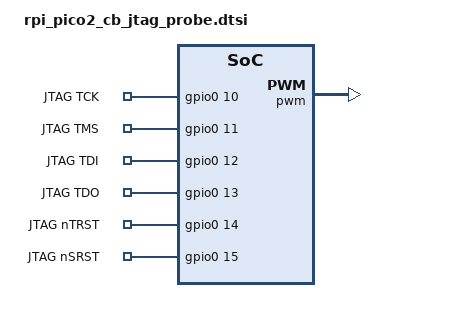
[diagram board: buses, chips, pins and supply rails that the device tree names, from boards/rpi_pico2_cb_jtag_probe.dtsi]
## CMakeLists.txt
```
# Copyright (c) 2021 Teslabs Engineering S.L.
# SPDX-License-Identifier: Apache-2.0

cmake_minimum_required(VERSION 3.20.0)

# add our custom zephyr BOARD_ROOT directory
# list(APPEND BOARD_ROOT
# 	${CMAKE_CURRENT_SOURCE_DIR}/../
# )

find_package(Zephyr REQUIRED HINTS $ENV{ZEPHYR_BASE})
project(cb_jtag_probe)

# # Setup git watcher, extracts git infos and writes them to POST_CONFIGURE_FILE(s) based on
# # of PRE_CONFIGURE_FILE(s) template(s).
# set(CMAKE_MODULE_PATH ${CMAKE_MODULE_PATH} "${CMAKE_SOURCE_DIR}/../build_helpers/cmake/")
# set(PRE_CONFIGURE_FILE "${CMAKE_SOURCE_DIR}/../build_helpers/cmake/fw_version.h.in")
# set(POST_CONFIGURE_FILE "${CMAKE_BINARY_DIR}/fw_version.h")
# include(git_watcher)

# target_include_directories(app PRIVATE ${CMAKE_BINARY_DIR})


FILE(GLOB app_sources CONFIGURE_DEPENDS src/*.c)
target_sources(app PRIVATE ${app_sources})
```

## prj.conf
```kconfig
CONFIG_USB_DEVICE_STACK_NEXT=y
CONFIG_USBD_LOG_LEVEL_WRN=y
CONFIG_USBD_THREAD_STACK_SIZE=4096
CONFIG_USBD_CDC_ACM_CLASS=y
CONFIG_USBD_CDC_ACM_LOG_LEVEL_OFF=y

CONFIG_SERIAL=y
CONFIG_UART_LINE_CTRL=y
CONFIG_UART_INTERRUPT_DRIVEN=y
CONFIG_UART_USE_RUNTIME_CONFIGURE=y

CONFIG_LOG=y
CONFIG_LOG_DEFAULT_LEVEL=3


# enable CB_ZEPHYR_MODULE
CONFIG_CB_ZEPHYR_MODULE=y

# enable CB_ERROR module to get error handling and reporting features
CONFIG_CB_ERROR=y

# enable CB_SYS module to get system check functions and LED control features
CONFIG_CB_SYS=y
# CONFIG_CB_SYS_LED_BLINK=y
CONFIG_CB_SYS_LED_HEARTBEAT=y
CONFIG_CB_SYS_LED_BPM=40

# enable CB_INFO module to get build and system information features
CONFIG_CB_INFO=y
```

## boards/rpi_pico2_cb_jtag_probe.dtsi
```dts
/ {
	aliases {
        sys-led = &led0;
		sys-led-pwm = &pwm_led0;

		jtag-tck = &jtag_tck;
		jtag-tms = &jtag_tms;
		jtag-tdi = &jtag_tdi;
		jtag-tdo = &jtag_tdo;
		jtag-ntrst = &jtag_ntrst;
		jtag-nsrst = &jtag_nsrst;
	};

	pwm_leds {
		compatible = "pwm-leds";
		status = "okay";
	};

	jtag_pins: jtag_pins {
		compatible = "gpio-keys";

		jtag_tck: jtag_tck {
			gpios = <&gpio0 10 GPIO_ACTIVE_HIGH>;
			label = "JTAG TCK";
		};

		jtag_tms: jtag_tms {
			gpios = <&gpio0 11 GPIO_ACTIVE_HIGH>;
			label = "JTAG TMS";
		};

		jtag_tdi: jtag_tdi {
			gpios = <&gpio0 12 GPIO_ACTIVE_HIGH>;
			label = "JTAG TDI";
		};

		jtag_tdo: jtag_tdo {
			gpios = <&gpio0 13 GPIO_ACTIVE_HIGH>;
			label = "JTAG TDO";
		};

		jtag_ntrst: jtag_ntrst {
			gpios = <&gpio0 14 GPIO_ACTIVE_HIGH>;
			label = "JTAG nTRST";
		};

		jtag_nsrst: jtag_nsrst {
			gpios = <&gpio0 15 GPIO_ACTIVE_HIGH>;
			label = "JTAG nSRST";
		};

	};
};

&pwm {
	status = "okay";
};
```

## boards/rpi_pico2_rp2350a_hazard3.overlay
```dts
/ {
	aliases {
		jtag-tck = &jtag_tck;
		jtag-tms = &jtag_tms;
		jtag-tdi = &jtag_tdi;
		jtag-tdo = &jtag_tdo;
		jtag-ntrst = &jtag_ntrst;
		jtag-nsrst = &jtag_nsrst;
	};

	jtag_pins: jtag_pins {
		compatible = "gpio-keys";

		jtag_tck: jtag_tck {
			gpios = <&gpio0 10 GPIO_ACTIVE_HIGH>;
			label = "JTAG TCK";
		};

		jtag_tms: jtag_tms {
			gpios = <&gpio0 11 GPIO_ACTIVE_HIGH>;
			label = "JTAG TMS";
		};

		jtag_tdi: jtag_tdi {
			gpios = <&gpio0 12 GPIO_ACTIVE_HIGH>;
			label = "JTAG TDI";
		};

		jtag_tdo: jtag_tdo {
			gpios = <&gpio0 13 GPIO_ACTIVE_HIGH>;
			label = "JTAG TDO";
		};

		jtag_ntrst: jtag_ntrst {
			gpios = <&gpio0 14 GPIO_ACTIVE_HIGH>;
			label = "JTAG nTRST";
		};

		jtag_nsrst: jtag_nsrst {
			gpios = <&gpio0 15 GPIO_ACTIVE_HIGH>;
			label = "JTAG nSRST";
		};

	};
};
```

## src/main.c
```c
#include <stdio.h>

#include <zephyr/kernel.h>

#include "cb_error.h"
#include "cb_sys.h"
#include "cb_info.h"
#include "jtag_engine.h"
#include "usb_bulk_jtag.h"
#include "usb_jtag_transport.h"

// ---- logging includes/defines ----------------------------------------------
#include <zephyr/logging/log.h>
LOG_MODULE_REGISTER(main, CONFIG_LOG_DEFAULT_LEVEL);


int32_t main(void)
{
    int ret;

    ret = cb_sys_init();
    ERR_CHECK(ret < 0, ret, "System init failed (err %d)", ret);

    ret = jtag_engine_init();
    ERR_CHECK(ret < 0, ret, "JTAG engine init failed (err %d)", ret);

    ret = usb_bulk_jtag_init();
    ERR_CHECK(ret < 0, ret, "USB bulk JTAG init failed (err %d)", ret);

    k_sleep(K_SECONDS(1));

    cb_info();

    while (true) {
        k_sleep(K_SECONDS(1));
    }
}
```

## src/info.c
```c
#include "info.h"
#include "fw_version.h"

#include <stdio.h>
#include <string.h>

#include <zephyr/drivers/hwinfo.h>
#include <zephyr/kernel.h>
#include <zephyr/sys/clock.h>
#include <zephyr/version.h>

// ---- logging includes/defines ----------------------------------------------
#include <zephyr/logging/log.h>
LOG_MODULE_REGISTER(info, CONFIG_LOG_DEFAULT_LEVEL);

#ifndef CONFIG_BOARD
#define CONFIG_BOARD "unknown"
#endif

#ifndef CONFIG_SOC
#define CONFIG_SOC "unknown"
#endif

static const char *const separator_line =
    "--------------------------------------------------------------------";

static const char *cpu_type_name(void)
{
#if defined(__riscv)
    return "RISC-V";
#elif defined(__aarch64__)
    return "ARM64";
#elif defined(__arm__)
#if defined(CONFIG_CPU_CORTEX_M85)
    return "ARM Cortex-M85";
#elif defined(CONFIG_CPU_CORTEX_M55)
    return "ARM Cortex-M55";
#elif defined(CONFIG_CPU_CORTEX_M52)
    return "ARM Cortex-M52";
#elif defined(CONFIG_CPU_CORTEX_M33)
    return "ARM Cortex-M33";
#elif defined(CONFIG_CPU_CORTEX_M23)
    return "ARM Cortex-M23";
#elif defined(CONFIG_CPU_CORTEX_M7)
    return "ARM Cortex-M7";
#elif defined(CONFIG_CPU_CORTEX_M4)
    return "ARM Cortex-M4";
#elif defined(CONFIG_CPU_CORTEX_M3)
    return "ARM Cortex-M3";
#elif defined(CONFIG_CPU_CORTEX_M1)
    return "ARM Cortex-M1";
#elif defined(CONFIG_CPU_CORTEX_M0PLUS)
    return "ARM Cortex-M0+";
#elif defined(CONFIG_CPU_CORTEX_M0)
    return "ARM Cortex-M0";
#elif defined(CONFIG_CPU_CORTEX_R52)
    return "ARM Cortex-R52";
#elif defined(CONFIG_CPU_CORTEX_R8)
    return "ARM Cortex-R8";
#elif defined(CONFIG_CPU_CORTEX_A72)
    return "ARM Cortex-A72";
#elif defined(CONFIG_CPU_CORTEX_A55)
    return "ARM Cortex-A55";
#elif defined(CONFIG_CPU_CORTEX_A53)
    return "ARM Cortex-A53";
#else
    return "ARM";
#endif
#elif defined(__x86_64__)
    return "x86_64";
#elif defined(__i386__)
    return "x86";
#else
    return "unknown";
#endif
}

static void format_device_id(char *dst, size_t dst_len)
{
    uint8_t id_buf[16];
    ssize_t id_len;
    size_t pos = 0u;

    id_len = hwinfo_get_device_id(id_buf, sizeof(id_buf));
    if (id_len <= 0) {
        (void)snprintf(dst, dst_len, "unknown");
        return;
    }

    for (ssize_t i = 0; i < id_len; i++) {
        int written;

        written = snprintf(&dst[pos], dst_len - pos, "%02X", id_buf[i]);
        if ((written <= 0) || ((size_t)written >= (dst_len - pos))) {
            break;
        }
        pos += (size_t)written;
    }
}

const char *const *get_device_information(size_t *count)
{
    static char release_line[96];
    static char zephyr_line[96];
    static char build_date_line[96];
    static char board_line[96];
    static char soc_line[128];
    static char cpu_line[96];
    static char device_id_line[96];
    static char device_id[40];
    static const char *lines[DEVICE_INFO_LINES_COUNT];

    format_device_id(device_id, sizeof(device_id));

    (void)snprintf(release_line, sizeof(release_line),
               "  Release:         %s", FW_VERSION_STRING);
    (void)snprintf(zephyr_line, sizeof(zephyr_line),
               "  Zephyr release:  %s", KERNEL_VERSION_STRING);
    (void)snprintf(build_date_line, sizeof(build_date_line),
               "  Build date:      %s %s", __DATE__, __TIME__);
    (void)snprintf(board_line, sizeof(board_line),
               "  Board name:      %s", CONFIG_BOARD);
    (void)snprintf(soc_line, sizeof(soc_line),
               "  SOC:             %s running @ %u MHz",
               CONFIG_SOC,
               (uint32_t)(sys_clock_hw_cycles_per_sec() / 1000000u));
    (void)snprintf(cpu_line, sizeof(cpu_line),
               "  CPU type:        %s (%u-bit)",
               cpu_type_name(),
               (unsigned int)(sizeof(void *) * 8u));
    (void)snprintf(device_id_line, sizeof(device_id_line),
               "  Device ID:       %s", device_id);

    lines[0] = separator_line;
    lines[1] = "Application and board information:";
    lines[2] = release_line;
    lines[3] = zephyr_line;
    lines[4] = build_date_line;
    lines[5] = board_line;
    lines[6] = soc_line;
    lines[7] = cpu_line;
    lines[8] = device_id_line;
    lines[9] = separator_line;

    if (count != NULL) {
        *count = DEVICE_INFO_LINES_COUNT;
    }

    return lines;
}



void info_log(void)
{
    // info content to log channel
    size_t count;
    const char *const *lines = get_device_information(&count);
    for (size_t i = 0u; i < count; i++) {
        LOG_INF("%s", lines[i]);
    }
}
```

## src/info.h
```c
#ifndef INFO_H_
#define INFO_H_

#include <stddef.h>

#ifdef __cplusplus
extern "C" {
#endif

#define DEVICE_INFO_LINES_COUNT 10u

/*
 * Returns a pointer to a static array of informational text lines.
 * The returned pointer remains valid until the next call.
 */
const char *const *get_device_information(size_t *count);

void info_log(void);

#ifdef __cplusplus
}
#endif

#endif /* INFO_H_ */
```

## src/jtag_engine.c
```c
#include <zephyr/devicetree.h>
#include <zephyr/drivers/gpio.h>
#include <errno.h>
#include <string.h>

#include "jtag_engine.h"
#include "jtag_proto.h"
#include "cb_error.h"

// ---- logging includes/defines ----------------------------------------------
#include <zephyr/logging/log.h>
// LOG_MODULE_REGISTER(JTAG_ENGINE, CONFIG_LOG_DEFAULT_LEVEL);
LOG_MODULE_REGISTER(JTAG_ENGINE, LOG_LEVEL_DBG);

#define JTAG_TCK_NODE DT_ALIAS(jtag_tck)
#define JTAG_TMS_NODE DT_ALIAS(jtag_tms)
#define JTAG_TDI_NODE DT_ALIAS(jtag_tdi)
#define JTAG_TDO_NODE DT_ALIAS(jtag_tdo)
#define JTAG_NSRST_NODE DT_NODELABEL(jtag_nsrst)

#if DT_HAS_ALIAS(jtag_tck) && DT_HAS_ALIAS(jtag_tms) && \
	DT_HAS_ALIAS(jtag_tdi) && DT_HAS_ALIAS(jtag_tdo)

    static const struct gpio_dt_spec jtag_tck = GPIO_DT_SPEC_GET(JTAG_TCK_NODE, gpios);
    static const struct gpio_dt_spec jtag_tms = GPIO_DT_SPEC_GET(JTAG_TMS_NODE, gpios);
    static const struct gpio_dt_spec jtag_tdi = GPIO_DT_SPEC_GET(JTAG_TDI_NODE, gpios);
    static const struct gpio_dt_spec jtag_tdo = GPIO_DT_SPEC_GET(JTAG_TDO_NODE, gpios);
#else
#error "JTAG GPIO aliases (jtag-tck/tms/tdi/tdo) must be defined in devicetree"
#endif

static bool jtag_ready;
static bool nsrst_ready;
static const size_t jtag_log_hexdump_max_bytes = 64u;

#if DT_NODE_EXISTS(JTAG_NSRST_NODE)
static const struct gpio_dt_spec jtag_nsrst = GPIO_DT_SPEC_GET(JTAG_NSRST_NODE, gpios);
#endif

static inline uint8_t get_bit(const uint8_t *buf, uint32_t bit_index)
{
	return (buf[bit_index / 8u] >> (bit_index % 8u)) & 0x1u;
}

static inline void set_bit(uint8_t *buf, uint32_t bit_index, uint8_t value)
{
	uint8_t mask = (uint8_t)(1u << (bit_index % 8u));

	if (value != 0u) {
		buf[bit_index / 8u] |= mask;
	} else {
		buf[bit_index / 8u] &= (uint8_t)(~mask);
	}
}

int jtag_engine_init(void)
{
	int rc;

	if (!device_is_ready(jtag_tck.port) || !device_is_ready(jtag_tms.port) ||
	    !device_is_ready(jtag_tdi.port) || !device_is_ready(jtag_tdo.port)) {
		LOG_ERR("JTAG GPIO port not ready");
		return -1;
	}

	rc = gpio_pin_configure_dt(&jtag_tck, GPIO_OUTPUT_INACTIVE);
	if (rc != 0) {
		LOG_ERR("Failed to configure TCK rc=%d", rc);
		return rc;
	}

	rc = gpio_pin_configure_dt(&jtag_tms, GPIO_OUTPUT_INACTIVE);
	if (rc != 0) {
		LOG_ERR("Failed to configure TMS rc=%d", rc);
		return rc;
	}

	rc = gpio_pin_configure_dt(&jtag_tdi, GPIO_OUTPUT_INACTIVE);
	if (rc != 0) {
		LOG_ERR("Failed to configure TDI rc=%d", rc);
		return rc;
	}

	rc = gpio_pin_configure_dt(&jtag_tdo, GPIO_INPUT);
	if (rc != 0) {
		LOG_ERR("Failed to configure TDO rc=%d", rc);
		return rc;
	}

#if DT_NODE_EXISTS(JTAG_NSRST_NODE)
	if (!device_is_ready(jtag_nsrst.port)) {
		LOG_WRN("nSRST GPIO port not ready, reset control disabled");
		nsrst_ready = false;
	} else {
		rc = gpio_pin_configure_dt(&jtag_nsrst, GPIO_OUTPUT_ACTIVE);
		if (rc != 0) {
			LOG_WRN("Failed to configure nSRST rc=%d, reset control disabled", rc);
			nsrst_ready = false;
		} else {
			nsrst_ready = true;
		}
	}
#else
	nsrst_ready = false;
#endif

	jtag_ready = true;
	return 0;
}

int jtag_engine_shift_bits(const uint8_t *tdi,
			   const uint8_t *tms,
			   uint8_t *tdo,
			   uint32_t n_bits)
{
	size_t n_bytes;
	size_t dump_bytes;
	int rc;

	if (!jtag_ready) {
		return -1;
	}

	if ((tdi == NULL) || (tms == NULL) || (tdo == NULL) || (n_bits == 0u)) {
		return -2;
	}

	n_bytes = jtag_bytes_for_bits(n_bits);
	dump_bytes = (n_bytes > jtag_log_hexdump_max_bytes) ? jtag_log_hexdump_max_bytes : n_bytes;

	LOG_DBG("Shifting %u bits through JTAG chain (%u bytes)", n_bits, (uint32_t)n_bytes);
	LOG_HEXDUMP_DBG(tdi, dump_bytes, "TDI");
	LOG_HEXDUMP_DBG(tms, dump_bytes, "TMS");
	if (dump_bytes < n_bytes) {
		LOG_DBG("Hexdump truncated to %u/%u bytes", (uint32_t)dump_bytes, (uint32_t)n_bytes);
	}

	memset(tdo, 0, n_bytes);

	for (uint32_t i = 0; i < n_bits; i++) {
		rc = gpio_pin_set_dt(&jtag_tms, get_bit(tms, i));
		if (rc != 0) {
			return rc;
		}

		rc = gpio_pin_set_dt(&jtag_tdi, get_bit(tdi, i));
		if (rc != 0) {
			return rc;
		}

		rc = gpio_pin_set_dt(&jtag_tck, 1);
		if (rc != 0) {
			return rc;
		}

		rc = gpio_pin_get_dt(&jtag_tdo);
		if (rc < 0) {
			return rc;
		}
		set_bit(tdo, i, (uint8_t)rc);

		rc = gpio_pin_set_dt(&jtag_tck, 0);
		if (rc != 0) {
			return rc;
		}
	}

	return 0;
}

int jtag_engine_shift_loopback(const uint8_t *tdi,
				      const uint8_t *tms,
				      uint8_t *tdo,
				      uint32_t n_bits)
{
	size_t n_bytes;
	uint8_t last_mask;

	(void)tms;

	if ((tdi == NULL) || (tdo == NULL) || (n_bits == 0u)) {
		return -1;
	}

	n_bytes = jtag_bytes_for_bits(n_bits);
	memcpy(tdo, tdi, n_bytes);

	/* Ensure padding bits above n_bits are always cleared. */
	last_mask = (uint8_t)((n_bits % 8u) == 0u ? 0xFFu : ((1u << (n_bits % 8u)) - 1u));
	tdo[n_bytes - 1u] &= last_mask;

    LOG_HEXDUMP_DBG(tdo, n_bytes, "TDO");

	return 0;
}

int jtag_engine_set_nsrst_high(void)
{
#if DT_NODE_EXISTS(JTAG_NSRST_NODE)
	if (!jtag_ready) {
		return -EIO;
	}

	if (!nsrst_ready) {
		return -ENOTSUP;
	}

	LOG_DBG("set nSRST high");
	return gpio_pin_set_dt(&jtag_nsrst, 1);
#else
	return -ENOTSUP;
#endif
}

int jtag_engine_set_nsrst_low(void)
{
#if DT_NODE_EXISTS(JTAG_NSRST_NODE)
	if (!jtag_ready) {
		return -EIO;
	}

	if (!nsrst_ready) {
		return -ENOTSUP;
	}

	LOG_DBG("set nSRST low");
	return gpio_pin_set_dt(&jtag_nsrst, 0);
#else
	return -ENOTSUP;
#endif
}
```

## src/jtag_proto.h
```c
#ifndef JTAG_PROTO_H_
#define JTAG_PROTO_H_

#include <stddef.h>
#include <stdint.h>

#ifdef __cplusplus
extern "C" {
#endif

#define JTAG_CMD_SCAN 0x01u
#define JTAG_CMD_NSRST_HIGH 0x02u
#define JTAG_CMD_NSRST_LOW 0x03u
#define JTAG_CMD_GET_FW_VERSION 0x04u

#define JTAG_FW_VERSION_PAYLOAD_LEN 32u

#define JTAG_STATUS_OK 0x00u
#define JTAG_STATUS_BAD_CMD 0x01u
#define JTAG_STATUS_BAD_LEN 0x02u
#define JTAG_STATUS_INTERNAL_ERR 0x03u

#define JTAG_PROTO_HEADER_SIZE 8u

struct jtag_scan_request {
	uint8_t flags;
	uint32_t n_bits;
	size_t n_bytes;
	const uint8_t *tdi;
	const uint8_t *tms;
};

struct jtag_scan_response {
	uint8_t status;
	uint8_t flags;
	uint32_t n_bits;
	size_t n_bytes;
	const uint8_t *tdo;
};

size_t jtag_bytes_for_bits(uint32_t n_bits);

int jtag_proto_decode_scan_request(const uint8_t *buf, size_t len,
					 struct jtag_scan_request *req);

int jtag_proto_encode_scan_response(const struct jtag_scan_response *rsp,
					 uint8_t *buf,
					 size_t buf_len,
					 size_t *encoded_len);

#ifdef __cplusplus
}
#endif

#endif /* JTAG_PROTO_H_ */
```

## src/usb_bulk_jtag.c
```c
#include "usb_bulk_jtag.h"

#include <errno.h>

#include <zephyr/drivers/usb/udc.h>
#include <zephyr/kernel.h>
#include <zephyr/logging/log.h>
#include <zephyr/sys/byteorder.h>
#include <zephyr/usb/usbd.h>

#include "jtag_proto.h"
#include "usb_jtag_transport.h"

LOG_MODULE_REGISTER(usb_bulk_jtag, CONFIG_LOG_DEFAULT_LEVEL);

#define JTAG_BULK_EP_OUT_ADDR 0x01
#define JTAG_BULK_EP_IN_ADDR  0x81

#define JTAG_BULK_MAX_BITS        4096u
#define JTAG_BULK_MAX_REQ_BYTES   (JTAG_PROTO_HEADER_SIZE + (2u * (JTAG_BULK_MAX_BITS / 8u)))
#define JTAG_BULK_MAX_RESP_BYTES  (JTAG_PROTO_HEADER_SIZE + (JTAG_BULK_MAX_BITS / 8u))
#define JTAG_BULK_OUT_XFER_BYTES  USBD_MAX_BULK_MPS

enum {
	JTAG_BULK_ENABLED = 0,
	JTAG_BULK_OUT_ARMED,
	JTAG_BULK_IN_FLIGHT,
};

struct jtag_bulk_desc {
	struct usb_if_descriptor if0;
	struct usb_ep_descriptor if0_out_ep;
	struct usb_ep_descriptor if0_in_ep;
	struct usb_ep_descriptor if0_hs_out_ep;
	struct usb_ep_descriptor if0_hs_in_ep;
	struct usb_desc_header nil_desc;
};

struct jtag_bulk_data {
	struct jtag_bulk_desc *const desc;
	const struct usb_desc_header **const fs_desc;
	const struct usb_desc_header **const hs_desc;
	atomic_t state;
	size_t rx_len;
	uint8_t rx_buf[JTAG_BULK_MAX_REQ_BYTES];
};

static uint8_t tx_buf[JTAG_BULK_MAX_RESP_BYTES];

static int jtag_bulk_expected_req_len(const uint8_t *buf, size_t len, size_t *expected)
{
	uint8_t cmd;
	uint32_t n_bits;
	size_t n_bytes;

	if ((buf == NULL) || (expected == NULL)) {
		return -EINVAL;
	}

	if (len < JTAG_PROTO_HEADER_SIZE) {
		return -EAGAIN;
	}

	cmd = buf[0];
	if ((cmd == JTAG_CMD_NSRST_HIGH) ||
	    (cmd == JTAG_CMD_NSRST_LOW) ||
	    (cmd == JTAG_CMD_GET_FW_VERSION)) {
		*expected = JTAG_PROTO_HEADER_SIZE;
		return 0;
	}

	if (cmd != JTAG_CMD_SCAN) {
		return -EINVAL;
	}

	/* Header layout: cmd(1), flags(1), reserved(2), n_bits(4 LE). */
	n_bits = (uint32_t)buf[4] |
		 ((uint32_t)buf[5] << 8) |
		 ((uint32_t)buf[6] << 16) |
		 ((uint32_t)buf[7] << 24);

	if (n_bits == 0u) {
		return -EINVAL;
	}

	n_bytes = jtag_bytes_for_bits(n_bits);
	*expected = JTAG_PROTO_HEADER_SIZE + (2u * n_bytes);

	if (*expected > JTAG_BULK_MAX_REQ_BYTES) {
		return -EMSGSIZE;
	}

	return 0;
}

static uint8_t jtag_bulk_get_out_ep(struct usbd_class_data *const c_data)
{
	struct jtag_bulk_data *data = usbd_class_get_private(c_data);
	struct usbd_context *ctx = usbd_class_get_ctx(c_data);

	if (USBD_SUPPORTS_HIGH_SPEED && usbd_bus_speed(ctx) == USBD_SPEED_HS) {
		return data->desc->if0_hs_out_ep.bEndpointAddress;
	}

	return data->desc->if0_out_ep.bEndpointAddress;
}

static uint8_t jtag_bulk_get_in_ep(struct usbd_class_data *const c_data)
{
	struct jtag_bulk_data *data = usbd_class_get_private(c_data);
	struct usbd_context *ctx = usbd_class_get_ctx(c_data);

	if (USBD_SUPPORTS_HIGH_SPEED && usbd_bus_speed(ctx) == USBD_SPEED_HS) {
		return data->desc->if0_hs_in_ep.bEndpointAddress;
	}

	return data->desc->if0_in_ep.bEndpointAddress;
}

static int jtag_bulk_submit_out(struct usbd_class_data *const c_data)
{
	struct jtag_bulk_data *data = usbd_class_get_private(c_data);
	struct net_buf *buf;
	int ret;

	if (!atomic_test_bit(&data->state, JTAG_BULK_ENABLED)) {
		return -EPERM;
	}

	buf = usbd_ep_buf_alloc(c_data, jtag_bulk_get_out_ep(c_data), JTAG_BULK_OUT_XFER_BYTES);
	if (buf == NULL) {
		LOG_ERR("Failed to allocate OUT buffer (%u bytes)", JTAG_BULK_OUT_XFER_BYTES);
		return -ENOMEM;
	}

	ret = usbd_ep_enqueue(c_data, buf);
	if (ret != 0) {
		LOG_ERR("Failed to enqueue OUT transfer ret=%d", ret);
		net_buf_unref(buf);
	} else {
		atomic_set_bit(&data->state, JTAG_BULK_OUT_ARMED);
	}

	return ret;
}

static int jtag_bulk_submit_in(struct usbd_class_data *const c_data,
			      const uint8_t *data,
			      size_t len)
{
	struct jtag_bulk_data *bulk_data = usbd_class_get_private(c_data);
	struct net_buf *buf;
	int ret;

	if ((data == NULL) || (len == 0u) || (len > JTAG_BULK_MAX_RESP_BYTES)) {
		return -EINVAL;
	}

	buf = usbd_ep_buf_alloc(c_data, jtag_bulk_get_in_ep(c_data), len);
	if (buf == NULL) {
		return -ENOMEM;
	}

	net_buf_add_mem(buf, data, len);
	ret = usbd_ep_enqueue(c_data, buf);
	if (ret != 0) {
		net_buf_unref(buf);
	} else {
		atomic_set_bit(&bulk_data->state, JTAG_BULK_IN_FLIGHT);
	}

	return ret;
}

static void jtag_bulk_send_status(struct usbd_class_data *const c_data, uint8_t status)
{
	struct jtag_scan_response rsp = {
		.status = status,
		.flags = 0u,
		.n_bits = 0u,
		.n_bytes = 0u,
		.tdo = NULL,
	};
	size_t tx_len = 0u;

	if (jtag_proto_encode_scan_response(&rsp, tx_buf, sizeof(tx_buf), &tx_len) == 0) {
		(void)jtag_bulk_submit_in(c_data, tx_buf, tx_len);
	}
}

static void jtag_bulk_reset_rx(struct jtag_bulk_data *data)
{
	data->rx_len = 0u;
}

static int jtag_bulk_request_handler(struct usbd_class_data *const c_data,
				     struct net_buf *const buf,
				     int err)
{
	struct udc_buf_info *bi = udc_get_buf_info(buf);
	uint8_t ep = bi->ep;

	if (ep == jtag_bulk_get_out_ep(c_data)) {
		struct jtag_bulk_data *data = usbd_class_get_private(c_data);

		atomic_clear_bit(&data->state, JTAG_BULK_OUT_ARMED);

		if (err == 0) {
			size_t tx_len = 0u;
			size_t expected = 0u;
			int ret;

			if ((data->rx_len + buf->len) > sizeof(data->rx_buf)) {
				LOG_WRN("RX frame overflow (%u + %u)", (uint32_t)data->rx_len,
					(uint32_t)buf->len);
				jtag_bulk_send_status(c_data, JTAG_STATUS_BAD_LEN);
				jtag_bulk_reset_rx(data);
				net_buf_unref(buf);
				if (!atomic_test_bit(&data->state, JTAG_BULK_IN_FLIGHT)) {
					(void)jtag_bulk_submit_out(c_data);
				}
				return 0;
			}

			memcpy(&data->rx_buf[data->rx_len], buf->data, buf->len);
			data->rx_len += buf->len;

			ret = jtag_bulk_expected_req_len(data->rx_buf, data->rx_len, &expected);
			if (ret == -EAGAIN) {
				net_buf_unref(buf);
				if (!atomic_test_bit(&data->state, JTAG_BULK_IN_FLIGHT)) {
					(void)jtag_bulk_submit_out(c_data);
				}
				return 0;
			}

			if (ret != 0) {
				jtag_bulk_send_status(c_data, JTAG_STATUS_BAD_LEN);
				jtag_bulk_reset_rx(data);
				net_buf_unref(buf);
				if (!atomic_test_bit(&data->state, JTAG_BULK_IN_FLIGHT)) {
					(void)jtag_bulk_submit_out(c_data);
				}
				return 0;
			}

			if (data->rx_len < expected) {
				net_buf_unref(buf);
				if (!atomic_test_bit(&data->state, JTAG_BULK_IN_FLIGHT)) {
					(void)jtag_bulk_submit_out(c_data);
				}
				return 0;
			}

			if (data->rx_len > expected) {
				jtag_bulk_send_status(c_data, JTAG_STATUS_BAD_LEN);
				jtag_bulk_reset_rx(data);
				net_buf_unref(buf);
				if (!atomic_test_bit(&data->state, JTAG_BULK_IN_FLIGHT)) {
					(void)jtag_bulk_submit_out(c_data);
				}
				return 0;
			}

			ret = usb_jtag_transport_process_frame(data->rx_buf, data->rx_len,
							      tx_buf, sizeof(tx_buf), &tx_len);
			jtag_bulk_reset_rx(data);

			if ((ret == 0) && (tx_len > 0u)) {
				ret = jtag_bulk_submit_in(c_data, tx_buf, tx_len);
				if (ret != 0) {
					LOG_WRN("Failed to enqueue IN transfer ret=%d", ret);
				}
			} else {
				jtag_bulk_send_status(c_data, JTAG_STATUS_INTERNAL_ERR);
			}
		} else {
			jtag_bulk_send_status(c_data, JTAG_STATUS_INTERNAL_ERR);
			jtag_bulk_reset_rx(data);
		}

		net_buf_unref(buf);
		if (!atomic_test_bit(&data->state, JTAG_BULK_IN_FLIGHT)) {
			(void)jtag_bulk_submit_out(c_data);
		}
		return 0;
	}

	if (ep == jtag_bulk_get_in_ep(c_data)) {
		struct jtag_bulk_data *data = usbd_class_get_private(c_data);

		atomic_clear_bit(&data->state, JTAG_BULK_IN_FLIGHT);
		net_buf_unref(buf);

		if (atomic_test_bit(&data->state, JTAG_BULK_ENABLED) &&
		    !atomic_test_bit(&data->state, JTAG_BULK_OUT_ARMED)) {
			(void)jtag_bulk_submit_out(c_data);
		}

		if (err != 0) {
			LOG_WRN("IN transfer failed ep=0x%02x err=%d", ep, err);
		}

		return 0;
	}

	net_buf_unref(buf);
	if (err != 0) {
		LOG_WRN("Transfer failed ep=0x%02x err=%d", ep, err);
	}

	return 0;
}

static void *jtag_bulk_get_desc(struct usbd_class_data *const c_data,
				const enum usbd_speed speed)
{
	struct jtag_bulk_data *data = usbd_class_get_private(c_data);

	if (USBD_SUPPORTS_HIGH_SPEED && speed == USBD_SPEED_HS) {
		return data->hs_desc;
	}

	return data->fs_desc;
}

static void jtag_bulk_enable(struct usbd_class_data *const c_data)
{
	struct jtag_bulk_data *data = usbd_class_get_private(c_data);

	if (!atomic_test_and_set_bit(&data->state, JTAG_BULK_ENABLED)) {
		int ret = jtag_bulk_submit_out(c_data);

		if (ret != 0) {
			LOG_ERR("Failed to arm bulk OUT endpoint ret=%d", ret);
		}
	}
}

static void jtag_bulk_disable(struct usbd_class_data *const c_data)
{
	struct jtag_bulk_data *data = usbd_class_get_private(c_data);

	atomic_clear_bit(&data->state, JTAG_BULK_ENABLED);
	atomic_clear_bit(&data->state, JTAG_BULK_OUT_ARMED);
	atomic_clear_bit(&data->state, JTAG_BULK_IN_FLIGHT);
	jtag_bulk_reset_rx(data);
}

static int jtag_bulk_class_init(struct usbd_class_data *c_data)
{
	ARG_UNUSED(c_data);
	return 0;
}

static const struct usbd_class_api jtag_bulk_api = {
	.request = jtag_bulk_request_handler,
	.get_desc = jtag_bulk_get_desc,
	.enable = jtag_bulk_enable,
	.disable = jtag_bulk_disable,
	.init = jtag_bulk_class_init,
};

static struct jtag_bulk_desc jtag_bulk_desc_0 = {
	.if0 = {
		.bLength = sizeof(struct usb_if_descriptor),
		.bDescriptorType = USB_DESC_INTERFACE,
		.bInterfaceNumber = 0,
		.bAlternateSetting = 0,
		.bNumEndpoints = 2,
		.bInterfaceClass = USB_BCC_VENDOR,
		.bInterfaceSubClass = 0,
		.bInterfaceProtocol = 0,
		.iInterface = 0,
	},
	.if0_out_ep = {
		.bLength = sizeof(struct usb_ep_descriptor),
		.bDescriptorType = USB_DESC_ENDPOINT,
		.bEndpointAddress = JTAG_BULK_EP_OUT_ADDR,
		.bmAttributes = USB_EP_TYPE_BULK,
		.wMaxPacketSize = sys_cpu_to_le16(64u),
		.bInterval = 0,
	},
	.if0_in_ep = {
		.bLength = sizeof(struct usb_ep_descriptor),
		.bDescriptorType = USB_DESC_ENDPOINT,
		.bEndpointAddress = JTAG_BULK_EP_IN_ADDR,
		.bmAttributes = USB_EP_TYPE_BULK,
		.wMaxPacketSize = sys_cpu_to_le16(64u),
		.bInterval = 0,
	},
	.if0_hs_out_ep = {
		.bLength = sizeof(struct usb_ep_descriptor),
		.bDescriptorType = USB_DESC_ENDPOINT,
		.bEndpointAddress = JTAG_BULK_EP_OUT_ADDR,
		.bmAttributes = USB_EP_TYPE_BULK,
		.wMaxPacketSize = sys_cpu_to_le16(512u),
		.bInterval = 0,
	},
	.if0_hs_in_ep = {
		.bLength = sizeof(struct usb_ep_descriptor),
		.bDescriptorType = USB_DESC_ENDPOINT,
		.bEndpointAddress = JTAG_BULK_EP_IN_ADDR,
		.bmAttributes = USB_EP_TYPE_BULK,
		.wMaxPacketSize = sys_cpu_to_le16(512u),
		.bInterval = 0,
	},
	.nil_desc = {
		.bLength = 0,
		.bDescriptorType = 0,
	},
};

static const struct usb_desc_header *jtag_bulk_fs_desc_0[] = {
	(struct usb_desc_header *)&jtag_bulk_desc_0.if0,
	(struct usb_desc_header *)&jtag_bulk_desc_0.if0_in_ep,
	(struct usb_desc_header *)&jtag_bulk_desc_0.if0_out_ep,
	(struct usb_desc_header *)&jtag_bulk_desc_0.nil_desc,
};

static const struct usb_desc_header *jtag_bulk_hs_desc_0[] = {
	(struct usb_desc_header *)&jtag_bulk_desc_0.if0,
	(struct usb_desc_header *)&jtag_bulk_desc_0.if0_hs_in_ep,
	(struct usb_desc_header *)&jtag_bulk_desc_0.if0_hs_out_ep,
	(struct usb_desc_header *)&jtag_bulk_desc_0.nil_desc,
};

static struct jtag_bulk_data jtag_bulk_data_0 = {
	.desc = &jtag_bulk_desc_0,
	.fs_desc = jtag_bulk_fs_desc_0,
	.hs_desc = jtag_bulk_hs_desc_0,
};

USBD_DEFINE_CLASS(jtag_bulk_0, &jtag_bulk_api, &jtag_bulk_data_0, NULL);

USBD_DEVICE_DEFINE(jtag_usbd,
		   DEVICE_DT_GET(DT_NODELABEL(zephyr_udc0)),
		   0x2FE3,
		   0x0001);
USBD_DESC_LANG_DEFINE(jtag_lang);
USBD_DESC_MANUFACTURER_DEFINE(jtag_mfr, "Chriesibaum GmbH");
USBD_DESC_PRODUCT_DEFINE(jtag_product, "CB-7777 JTAG Probe");
USBD_DESC_CONFIG_DEFINE(jtag_fs_cfg_desc, "JTAG FS");
USBD_DESC_CONFIG_DEFINE(jtag_hs_cfg_desc, "JTAG HS");
USBD_CONFIGURATION_DEFINE(jtag_fs_config, 0, 50, &jtag_fs_cfg_desc);
USBD_CONFIGURATION_DEFINE(jtag_hs_config, 0, 50, &jtag_hs_cfg_desc);

static int register_classes_for_speed(enum usbd_speed speed)
{
	int ret;

	ret = usbd_register_class(&jtag_usbd, "jtag_bulk_0", speed, 1);
	if (ret != 0) {
		return ret;
	}

#if defined(CONFIG_USBD_CDC_ACM_CLASS)
	ret = usbd_register_class(&jtag_usbd, "cdc_acm_0", speed, 1);
	if (ret != 0) {
		return ret;
	}
#endif

	return 0;
}

static void jtag_usbd_msg_cb(struct usbd_context *const usbd_ctx,
			     const struct usbd_msg *const msg)
{
	if (usbd_can_detect_vbus(usbd_ctx)) {
		if (msg->type == USBD_MSG_VBUS_READY) {
			(void)usbd_enable(usbd_ctx);
		}

		if (msg->type == USBD_MSG_VBUS_REMOVED) {
			(void)usbd_disable(usbd_ctx);
		}
	}
}

int usb_bulk_jtag_init(void)
{
	int ret;

	ret = usbd_add_descriptor(&jtag_usbd, &jtag_lang);
	if (ret != 0) {
		return ret;
	}

	ret = usbd_add_descriptor(&jtag_usbd, &jtag_mfr);
	if (ret != 0) {
		return ret;
	}

	ret = usbd_add_descriptor(&jtag_usbd, &jtag_product);
	if (ret != 0) {
		return ret;
	}

	if (USBD_SUPPORTS_HIGH_SPEED && usbd_caps_speed(&jtag_usbd) == USBD_SPEED_HS) {
		ret = usbd_add_configuration(&jtag_usbd, USBD_SPEED_HS, &jtag_hs_config);
		if (ret != 0) {
			return ret;
		}

		ret = register_classes_for_speed(USBD_SPEED_HS);
		if (ret != 0) {
			return ret;
		}
	}

	ret = usbd_add_configuration(&jtag_usbd, USBD_SPEED_FS, &jtag_fs_config);
	if (ret != 0) {
		return ret;
	}

	ret = register_classes_for_speed(USBD_SPEED_FS);
	if (ret != 0) {
		return ret;
	}

	ret = usbd_msg_register_cb(&jtag_usbd, jtag_usbd_msg_cb);
	if (ret != 0) {
		return ret;
	}

	ret = usbd_init(&jtag_usbd);
	if (ret != 0) {
		return ret;
	}

	if (!usbd_can_detect_vbus(&jtag_usbd)) {
		ret = usbd_enable(&jtag_usbd);
		if (ret != 0) {
			return ret;
		}
	}

	return 0;
}
```

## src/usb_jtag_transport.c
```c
#include "usb_jtag_transport.h"

#include <string.h>

#include "fw_version.h"
#include "jtag_engine.h"
#include "jtag_proto.h"

int usb_jtag_transport_process_frame(const uint8_t *rx_buf,
				     size_t rx_len,
				     uint8_t *tx_buf,
				     size_t tx_buf_len,
				     size_t *tx_len)
{
	struct jtag_scan_request req;
	struct jtag_scan_response rsp;
	uint16_t reserved;
	uint32_t n_bits;
	uint8_t cmd;
	int rc;

	if ((rx_buf == NULL) || (tx_buf == NULL) || (tx_len == NULL)) {
		return -1;
	}

	cmd = rx_buf[0];

	if (cmd == JTAG_CMD_SCAN) {
		rc = jtag_proto_decode_scan_request(rx_buf, rx_len, &req);
		if (rc != 0) {
			rsp.status = JTAG_STATUS_BAD_LEN;
			rsp.flags = 0u;
			rsp.n_bits = 0u;
			rsp.n_bytes = 0u;
			rsp.tdo = NULL;
			return jtag_proto_encode_scan_response(&rsp, tx_buf, tx_buf_len, tx_len);
		}

		rc = jtag_engine_shift_bits(req.tdi, req.tms,
					    &tx_buf[JTAG_PROTO_HEADER_SIZE], req.n_bits);
		if (rc != 0) {
			rsp.status = JTAG_STATUS_INTERNAL_ERR;
			rsp.flags = req.flags;
			rsp.n_bits = req.n_bits;
			rsp.n_bytes = 0u;
			rsp.tdo = NULL;
			return jtag_proto_encode_scan_response(&rsp, tx_buf, tx_buf_len, tx_len);
		}

		rsp.status = JTAG_STATUS_OK;
		rsp.flags = req.flags;
		rsp.n_bits = req.n_bits;
		rsp.n_bytes = req.n_bytes;
		rsp.tdo = &tx_buf[JTAG_PROTO_HEADER_SIZE];

		return jtag_proto_encode_scan_response(&rsp, tx_buf, tx_buf_len, tx_len);
	}

	if (rx_len != JTAG_PROTO_HEADER_SIZE) {
		rsp.status = JTAG_STATUS_BAD_LEN;
		rsp.flags = 0u;
		rsp.n_bits = 0u;
		rsp.n_bytes = 0u;
		rsp.tdo = NULL;
		return jtag_proto_encode_scan_response(&rsp, tx_buf, tx_buf_len, tx_len);
	}

	reserved = (uint16_t)rx_buf[2] | ((uint16_t)rx_buf[3] << 8);
	n_bits = (uint32_t)rx_buf[4] |
		 ((uint32_t)rx_buf[5] << 8) |
		 ((uint32_t)rx_buf[6] << 16) |
		 ((uint32_t)rx_buf[7] << 24);

	if ((reserved != 0u) || (n_bits != 0u)) {
		rsp.status = JTAG_STATUS_BAD_LEN;
		rsp.flags = 0u;
		rsp.n_bits = 0u;
		rsp.n_bytes = 0u;
		rsp.tdo = NULL;
		return jtag_proto_encode_scan_response(&rsp, tx_buf, tx_buf_len, tx_len);
	}

	if (cmd == JTAG_CMD_NSRST_HIGH) {
		rc = jtag_engine_set_nsrst_high();
	} else if (cmd == JTAG_CMD_NSRST_LOW) {
		rc = jtag_engine_set_nsrst_low();
	} else if (cmd == JTAG_CMD_GET_FW_VERSION) {
		uint8_t version_payload[JTAG_FW_VERSION_PAYLOAD_LEN] = {0};

		strncpy((char *)version_payload, FW_VERSION_STRING,
			JTAG_FW_VERSION_PAYLOAD_LEN - 1u);

		rsp.status = JTAG_STATUS_OK;
		rsp.flags = 0u;
		rsp.n_bits = JTAG_FW_VERSION_PAYLOAD_LEN * 8u;
		rsp.n_bytes = JTAG_FW_VERSION_PAYLOAD_LEN;
		rsp.tdo = version_payload;
		return jtag_proto_encode_scan_response(&rsp, tx_buf, tx_buf_len, tx_len);
	} else {
		rsp.status = JTAG_STATUS_BAD_CMD;
		rsp.flags = 0u;
		rsp.n_bits = 0u;
		rsp.n_bytes = 0u;
		rsp.tdo = NULL;
		return jtag_proto_encode_scan_response(&rsp, tx_buf, tx_buf_len, tx_len);
	}

	rsp.status = (rc == 0) ? JTAG_STATUS_OK : JTAG_STATUS_INTERNAL_ERR;
	rsp.flags = 0u;
	rsp.n_bits = 0u;
	rsp.n_bytes = 0u;
	rsp.tdo = NULL;

	return jtag_proto_encode_scan_response(&rsp, tx_buf, tx_buf_len, tx_len);
}
```
